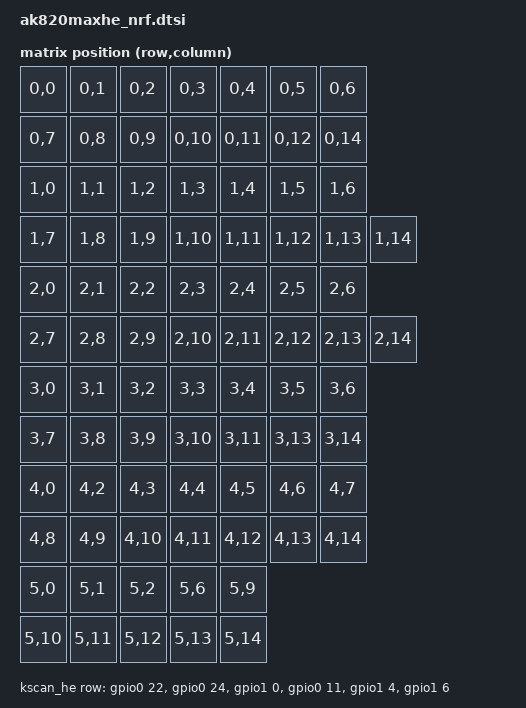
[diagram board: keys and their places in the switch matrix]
/*
 * Copyright (c) 2025
 * SPDX-License-Identifier: MIT
 *
 * AK820 Max HE — hardware topology
 * Board: nice!nano v2 (nRF52840)
 *
 * 84 hall-effect sensors in a 6-row × 15-column matrix.
 *   Mux 1 (8-ch) → P0.31 / AIN7  — columns  0-7
 *   Mux 2 (8-ch) → P0.29 / AIN5  — columns  8-14  (address 7 unused)
 *   Address lines (shared): P0.08, P0.17, P0.20
 *   Row enables:  P0.22, P0.24, P1.00, P0.11, P1.04, P1.06
 *
 * 75% ANSI layout — 6 rows × 15 columns, 84 active positions:
 *   Row 3 col 12 | Row 4 col 14 | Row 5 cols 4,6,7,14  (unused)
 */

#include <dt-bindings/zmk/matrix_transform.h>
#include <input/he_processors.dtsi>
#include <physical_layouts.dtsi>

/* ── ADC ─────────────────────────────────────────────────────────────────── */
&adc {
    status = "okay";
    #address-cells = <1>;
    #size-cells = <0>;

    /* nRF52840 AIN7 = P0.31  →  mux 1 output */
    adc_ch0: channel@0 {
        reg = <0>;
        zephyr,input-positive = <NRF_SAADC_AIN7>;
        zephyr,gain            = "ADC_GAIN_1_6";
        zephyr,reference       = "ADC_REF_INTERNAL";
        zephyr,acquisition-time =
            <ADC_ACQ_TIME(ADC_ACQ_TIME_MICROSECONDS, 3)>;
        zephyr,resolution = <12>;
    };

    /* nRF52840 AIN5 = P0.29  →  mux 2 output */
    adc_ch1: channel@1 {
        reg = <1>;
        zephyr,input-positive = <NRF_SAADC_AIN5>;
        zephyr,gain            = "ADC_GAIN_1_6";
        zephyr,reference       = "ADC_REF_INTERNAL";
        zephyr,acquisition-time =
            <ADC_ACQ_TIME(ADC_ACQ_TIME_MICROSECONDS, 3)>;
        zephyr,resolution = <12>;
    };
};

/* ── Signal-processor defaults ───────────────────────────────────────────── */
&raw_sp {
    matrix-size  = <6 15>;
    working-area = <250 3050>;
    /* Butterworth IIR coefficients (b0 b1 b2 a1 a2) — tune to hardware */
    filter-coefficients =
        <0x3ca485df 0x3d2485df 0x3ca485df 0x3f800000 0xbfc7cf71 0x3f242f9d>;
};


/* ── Root nodes ──────────────────────────────────────────────────────────── */
/ {
    chosen {
        zmk,kscan           = &kscan_he;
        zmk,physical-layout = &physical_layout0;
    };

    /* ── Physical layout (75% ANSI, approximate 100-unit grid) ─────────── */
    physical_layout0: physical_layout_0 {
        compatible   = "zmk,physical-layout";
        display-name = "75% ANSI";
        kscan        = <&kscan_he>;
        transform    = <&default_transform>;
        keys
        /* Row 0 — F-row (15 keys, y=0) */
        = <&key_physical_attrs 100 100    0   0 0 0 0>   /* ESC         */
        , <&key_physical_attrs 100 100  100   0 0 0 0>   /* F1          */
        , <&key_physical_attrs 100 100  200   0 0 0 0>   /* F2          */
        , <&key_physical_attrs 100 100  300   0 0 0 0>   /* F3          */
        , <&key_physical_attrs 100 100  400   0 0 0 0>   /* F4          */
        , <&key_physical_attrs 100 100  500   0 0 0 0>   /* F5          */
        , <&key_physical_attrs 100 100  600   0 0 0 0>   /* F6          */
        , <&key_physical_attrs 100 100  700   0 0 0 0>   /* F7          */
        , <&key_physical_attrs 100 100  800   0 0 0 0>   /* F8          */
        , <&key_physical_attrs 100 100  900   0 0 0 0>   /* F9          */
        , <&key_physical_attrs 100 100 1000   0 0 0 0>   /* F10         */
        , <&key_physical_attrs 100 100 1100   0 0 0 0>   /* F11         */
        , <&key_physical_attrs 100 100 1200   0 0 0 0>   /* F12         */
        , <&key_physical_attrs 100 100 1300   0 0 0 0>   /* DEL         */
        , <&key_physical_attrs 100 100 1400   0 0 0 0>   /* INS         */
        /* Row 1 — number row (15 keys, y=100) */
        , <&key_physical_attrs 100 100    0 100 0 0 0>   /* `~          */
        , <&key_physical_attrs 100 100  100 100 0 0 0>   /* 1           */
        , <&key_physical_attrs 100 100  200 100 0 0 0>   /* 2           */
        , <&key_physical_attrs 100 100  300 100 0 0 0>   /* 3           */
        , <&key_physical_attrs 100 100  400 100 0 0 0>   /* 4           */
        , <&key_physical_attrs 100 100  500 100 0 0 0>   /* 5           */
        , <&key_physical_attrs 100 100  600 100 0 0 0>   /* 6           */
        , <&key_physical_attrs 100 100  700 100 0 0 0>   /* 7           */
        , <&key_physical_attrs 100 100  800 100 0 0 0>   /* 8           */
        , <&key_physical_attrs 100 100  900 100 0 0 0>   /* 9           */
        , <&key_physical_attrs 100 100 1000 100 0 0 0>   /* 0           */
        , <&key_physical_attrs 100 100 1100 100 0 0 0>   /* -           */
        , <&key_physical_attrs 100 100 1200 100 0 0 0>   /* =           */
        , <&key_physical_attrs 200 100 1300 100 0 0 0>   /* BSPC (2u)   */
        , <&key_physical_attrs 100 100 1400 100 0 0 0>   /* PGUP        */
        /* Row 2 — QWERTY (15 keys, y=200) */
        , <&key_physical_attrs 150 100    0 200 0 0 0>   /* TAB (1.5u)  */
        , <&key_physical_attrs 100 100  150 200 0 0 0>   /* Q           */
        , <&key_physical_attrs 100 100  250 200 0 0 0>   /* W           */
        , <&key_physical_attrs 100 100  350 200 0 0 0>   /* E           */
        , <&key_physical_attrs 100 100  450 200 0 0 0>   /* R           */
        , <&key_physical_attrs 100 100  550 200 0 0 0>   /* T           */
        , <&key_physical_attrs 100 100  650 200 0 0 0>   /* Y           */
        , <&key_physical_attrs 100 100  750 200 0 0 0>   /* U           */
        , <&key_physical_attrs 100 100  850 200 0 0 0>   /* I           */
        , <&key_physical_attrs 100 100  950 200 0 0 0>   /* O           */
        , <&key_physical_attrs 100 100 1050 200 0 0 0>   /* P           */
        , <&key_physical_attrs 100 100 1150 200 0 0 0>   /* [           */
        , <&key_physical_attrs 100 100 1250 200 0 0 0>   /* ]           */
        , <&key_physical_attrs 150 100 1350 200 0 0 0>   /* \  (1.5u)   */
        , <&key_physical_attrs 100 100 1400 200 0 0 0>   /* PGDN        */
        /* Row 3 — home row (14 keys, col 12 unused, y=300) */
        , <&key_physical_attrs 175 100    0 300 0 0 0>   /* CAPS (1.75u)*/
        , <&key_physical_attrs 100 100  175 300 0 0 0>   /* A           */
        , <&key_physical_attrs 100 100  275 300 0 0 0>   /* S           */
        , <&key_physical_attrs 100 100  375 300 0 0 0>   /* D           */
        , <&key_physical_attrs 100 100  475 300 0 0 0>   /* F           */
        , <&key_physical_attrs 100 100  575 300 0 0 0>   /* G           */
        , <&key_physical_attrs 100 100  675 300 0 0 0>   /* H           */
        , <&key_physical_attrs 100 100  775 300 0 0 0>   /* J           */
        , <&key_physical_attrs 100 100  875 300 0 0 0>   /* K           */
        , <&key_physical_attrs 100 100  975 300 0 0 0>   /* L           */
        , <&key_physical_attrs 100 100 1075 300 0 0 0>   /* ;           */
        , <&key_physical_attrs 100 100 1175 300 0 0 0>   /* '           */
        /* col 12 (1275) is unused in this row */
        , <&key_physical_attrs 225 100 1275 300 0 0 0>   /* ENTER(2.25u)*/
        , <&key_physical_attrs 100 100 1400 300 0 0 0>   /* HOME        */
        /* Row 4 — bottom alpha (14 keys, col 14 unused, y=400) */
        , <&key_physical_attrs 225 100    0 400 0 0 0>   /* LSFT(2.25u) */
        , <&key_physical_attrs 100 100  225 400 0 0 0>   /* Z           */
        , <&key_physical_attrs 100 100  325 400 0 0 0>   /* X           */
        , <&key_physical_attrs 100 100  425 400 0 0 0>   /* C           */
        , <&key_physical_attrs 100 100  525 400 0 0 0>   /* V           */
        , <&key_physical_attrs 100 100  625 400 0 0 0>   /* B           */
        , <&key_physical_attrs 100 100  725 400 0 0 0>   /* N           */
        , <&key_physical_attrs 100 100  825 400 0 0 0>   /* M           */
        , <&key_physical_attrs 100 100  925 400 0 0 0>   /* ,           */
        , <&key_physical_attrs 100 100 1025 400 0 0 0>   /* .           */
        , <&key_physical_attrs 100 100 1125 400 0 0 0>   /* /           */
        , <&key_physical_attrs 175 100 1225 400 0 0 0>   /* RSFT(1.75u) */
        , <&key_physical_attrs 100 100 1300 400 0 0 0>   /* UP          */
        , <&key_physical_attrs 100 100 1400 400 0 0 0>   /* END         */
        /* Row 5 — modifier row (11 keys, cols 4,6,7,14 unused, y=500) */
        , <&key_physical_attrs 125 100    0 500 0 0 0>   /* LCTL(1.25u) */
        , <&key_physical_attrs 125 100  125 500 0 0 0>   /* LGUI(1.25u) */
        , <&key_physical_attrs 125 100  250 500 0 0 0>   /* LALT(1.25u) */
        , <&key_physical_attrs 100 100  375 500 0 0 0>   /* MENU        */
        /* col 4 (475) unused */
        , <&key_physical_attrs 625 100  475 500 0 0 0>   /* SPC  (6.25u)*/
        /* cols 6,7 unused */
        , <&key_physical_attrs 100 100 1100 500 0 0 0>   /* RALT        */
        , <&key_physical_attrs 100 100 1200 500 0 0 0>   /* FN          */
        , <&key_physical_attrs 125 100 1275 500 0 0 0>   /* RCTL(1.25u) */
        , <&key_physical_attrs 100 100 1300 500 0 0 0>   /* LEFT        */
        , <&key_physical_attrs 100 100 1350 500 0 0 0>   /* DOWN        */
        , <&key_physical_attrs 100 100 1400 500 0 0 0>   /* RIGHT       */
        ;
    };

    /* ── Matrix transform: RC(row,col) → keymap position 0-81 (82 keys) ──
     * Interleaved column mapping: g0→even cols, g1→odd cols.
     * Skipped positions (no sensor populated): (0,13) (3,12) (4,1)
     *                                          (5,3) (5,4) (5,5) (5,7) (5,8)
     */
    default_transform: keymap_transform_0 {
        compatible = "zmk,matrix-transform";
        rows    = <6>;
        columns = <15>;
        map = <
            /* Row 0 — 14 cols (skip col 13) */
            RC(0, 0) RC(0, 1) RC(0, 2) RC(0, 3) RC(0, 4) RC(0, 5) RC(0, 6)
            RC(0, 7) RC(0, 8) RC(0, 9) RC(0,10) RC(0,11) RC(0,12) RC(0,14)
            /* Row 1 — all 15 cols */
            RC(1, 0) RC(1, 1) RC(1, 2) RC(1, 3) RC(1, 4) RC(1, 5) RC(1, 6)
            RC(1, 7) RC(1, 8) RC(1, 9) RC(1,10) RC(1,11) RC(1,12) RC(1,13) RC(1,14)
            /* Row 2 — all 15 cols */
            RC(2, 0) RC(2, 1) RC(2, 2) RC(2, 3) RC(2, 4) RC(2, 5) RC(2, 6)
            RC(2, 7) RC(2, 8) RC(2, 9) RC(2,10) RC(2,11) RC(2,12) RC(2,13) RC(2,14)
            /* Row 3 — 14 cols (skip col 12, Enter 2.25u over cols 12-13) */
            RC(3, 0) RC(3, 1) RC(3, 2) RC(3, 3) RC(3, 4) RC(3, 5) RC(3, 6)
            RC(3, 7) RC(3, 8) RC(3, 9) RC(3,10) RC(3,11) RC(3,13) RC(3,14)
            /* Row 4 — 14 cols (skip col 1, LShift 2.25u over cols 0-1) */
            RC(4, 0) RC(4, 2) RC(4, 3) RC(4, 4) RC(4, 5) RC(4, 6) RC(4, 7)
            RC(4, 8) RC(4, 9) RC(4,10) RC(4,11) RC(4,12) RC(4,13) RC(4,14)
            /* Row 5 — 10 cols (skip 3,4,5,7,8 under 6.25u spacebar) */
            RC(5, 0) RC(5, 1) RC(5, 2) RC(5, 6) RC(5, 9)
            RC(5,10) RC(5,11) RC(5,12) RC(5,13) RC(5,14)
        >;
    };

    /* ── Hall-effect kscan driver ─────────────────────────────────────── */
    kscan_he: kscan_he {
        compatible = "he,kscan-multiplexer-rows";
        wakeup-source;

        /* Mux address lines: A0=P0.17, A1=P0.08, A2=P0.06 */
        address-gpios
            = <&gpio0 17 GPIO_ACTIVE_HIGH>
            , <&gpio0  8 GPIO_ACTIVE_HIGH>
            , <&gpio0  6 GPIO_ACTIVE_HIGH>
            ;

        /* Mux output-enable (active-high), shared by both 8-channel muxes — P1.01 */
        mux-enable-gpios = <&gpio1 1 GPIO_ACTIVE_HIGH>;

        /* Row enable lines — active-LOW (driven low when row is selected) */
        row-gpios
            = <&gpio0 22 GPIO_ACTIVE_LOW>
            , <&gpio0 24 GPIO_ACTIVE_LOW>
            , <&gpio1  0 GPIO_ACTIVE_LOW>
            , <&gpio0 11 GPIO_ACTIVE_LOW>
            , <&gpio1  4 GPIO_ACTIVE_LOW>
            , <&gpio1  6 GPIO_ACTIVE_LOW>
            ;

        address-to-read-delay = <5>;   /* µs — adjust for mux propagation */
        row-to-address-delay   = <5>;   /* µs — adjust for sensor settle time */
        wait-period-idle       = <1>;   /* ms — between scans when no key active */
        wait-period-press      = <1>;   /* ms — between scans when something is moving */
        resolution             = <12>;
        // calibrate;                   /* uncomment to log raw ADC values */

        /* Unpopulated sensor sites — driver suppresses events for these */
        skip-positions = <
            0 13    /* under top-right blank */
            3 12    /* under 2.25u Enter */
            4  1    /* under 2.25u LShift */
            5  3    /* under 6.25u Spacebar */
            5  4
            5  5
            5  7
            5  8
        >;

        /* Global calibration defaults — replace after running calibrate mode */
        default-calibration-min = <1200>;   /* slightly below worst-case pressed (~1259) */
        default-calibration-max = <2350>;   /* slightly above worst-case rest (~2330) */
        default-deadzone-top    = <250>;
        default-deadzone-bottom = <250>;

        /* Group 0: mux 1 → AIN7 (P0.31), even columns 0,2,4,6,8,10,12,14 */
        mux1_group: mux1 {
            io-channels      = <&adc 0>;
            address-range-min = <0>;
            address-range-max = <7>;
            column-offset    = <0>;
            column-stride    = <2>;
            switch-height    = <3300>;
            /* switch-pressed-is-higher; */
        };

        /* Group 1: mux 2 → AIN5 (P0.29), odd columns 1,3,5,7,9,11,13 */
        mux2_group: mux2 {
            io-channels      = <&adc 1>;
            address-range-min = <0>;
            address-range-max = <6>;   /* addr 7 → col 15, out of range */
            column-offset    = <1>;
            column-stride    = <2>;
            switch-height    = <3300>;
            /* switch-pressed-is-higher; */
        };
    };

    /* ── Input processing chain ─────────────────────────────────────────── */

    /* he_input_listener processes INPUT_EV_HE events before the keymap */
    he_listener: he_input_listener {
        compatible = "he,input-listener";
        status     = "okay";
        device     = <&kscan_he>;
        /* Global processor: noise filter */
        input-processors = <&raw_sp>;
        /* Press/release is handled directly in the kscan driver.
         * Add per-layer processors here for rapid-trigger, etc. */
    };
};
